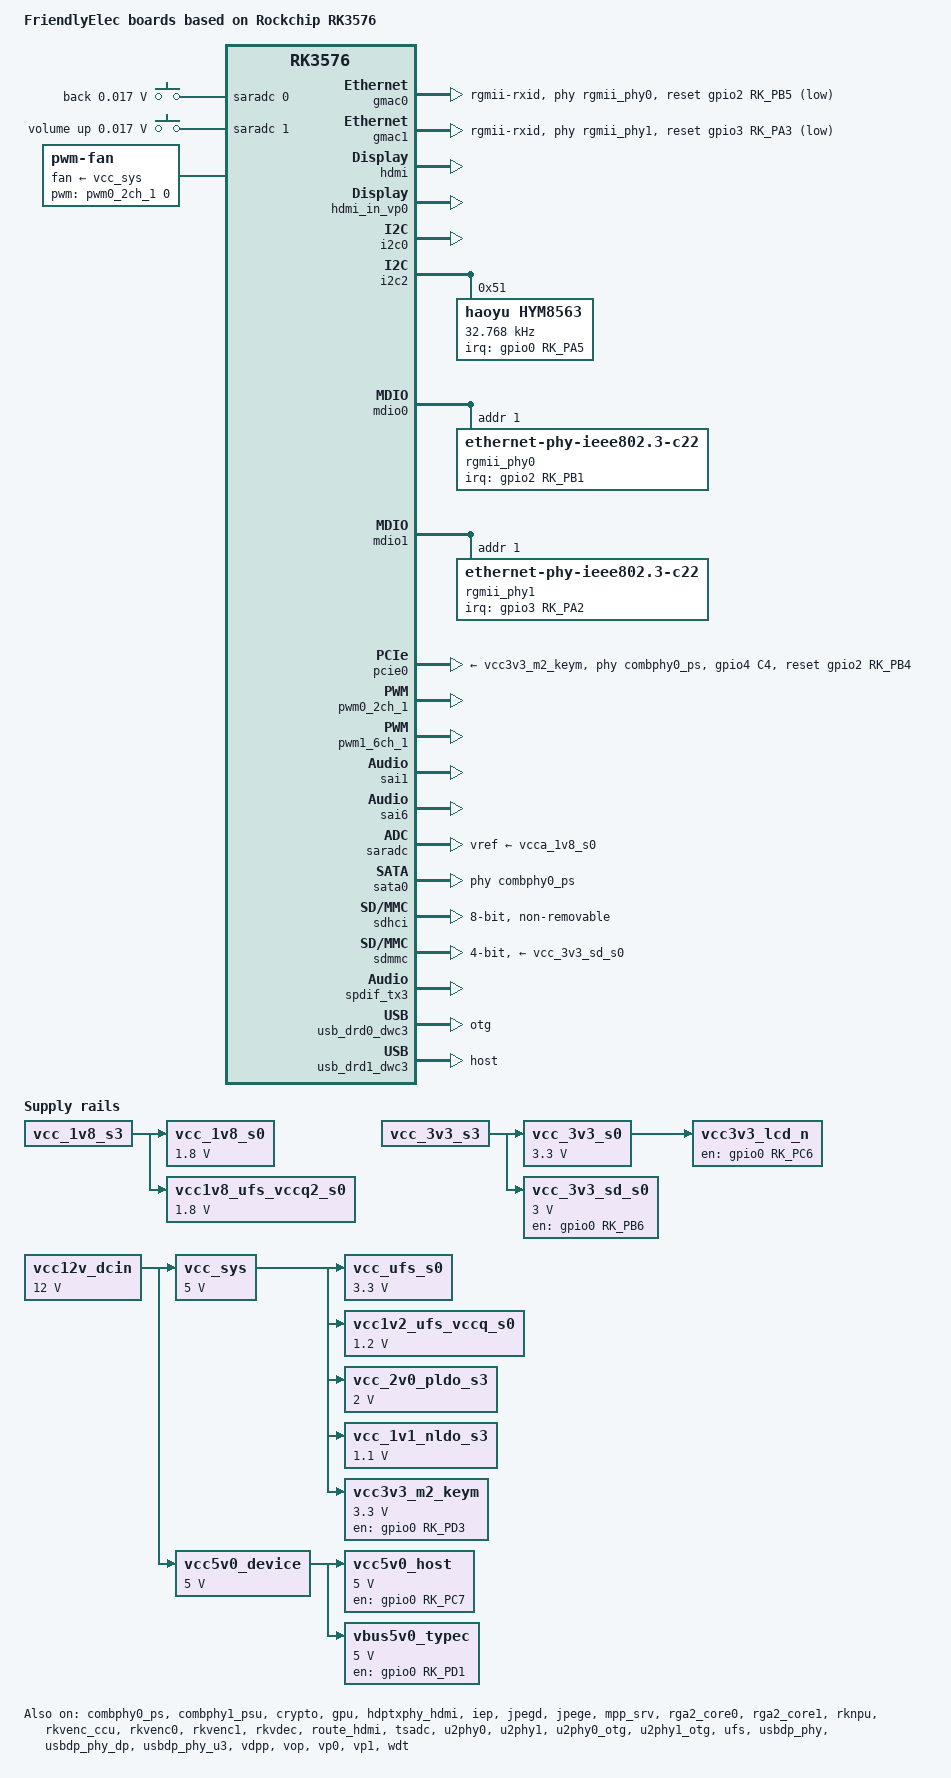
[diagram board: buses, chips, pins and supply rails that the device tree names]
// SPDX-License-Identifier: (GPL-2.0+ OR MIT)
/*
 * Copyright (c) 2025 FriendlyElec Computer Tech. Co., Ltd.
 * (http://www.friendlyelec.com)
 *
 * Copyright (c) 2024 Rockchip Electronics Co., Ltd.
 */

#include <dt-bindings/gpio/gpio.h>
#include <dt-bindings/pwm/pwm.h>
#include <dt-bindings/pinctrl/rockchip.h>
#include <dt-bindings/input/rk-input.h>
#include <dt-bindings/display/drm_mipi_dsi.h>
#include <dt-bindings/display/rockchip_vop.h>
#include <dt-bindings/usb/pd.h>
#include "rk3576.dtsi"
#include "rk3576-rk806.dtsi"
#include "rk3576-linux.dtsi"

/ {
	model = "FriendlyElec boards based on Rockchip RK3576";
	compatible = "friendlyelec,nanopi5",
		     "rockchip,rk3576";

	aliases {
		mmc0 = &sdmmc;
		mmc1 = &sdio;
		mmc2 = &sdhci;
	};


	adc0_keys: adc0-keys {
		compatible = "adc-keys";
		io-channels = <&saradc 0>;
		io-channel-names = "buttons";
		keyup-threshold-microvolt = <1800000>;
		poll-interval = <100>;

		vol-down-key {
			label = "back";
			linux,code = <KEY_BACK>;
			press-threshold-microvolt = <17000>;
		};
	};

	adc1_keys: adc1-keys {
		compatible = "adc-keys";
		io-channels = <&saradc 1>;
		io-channel-names = "buttons";
		keyup-threshold-microvolt = <1800000>;
		poll-interval = <100>;

		vol-up-key {
			label = "volume up";
			linux,code = <KEY_VOLUMEUP>;
			press-threshold-microvolt = <17000>;
		};
	};

	dp0_sound: dp0-sound {
		status = "disabled";
		compatible = "rockchip,hdmi";
		rockchip,mclk-fs = <512>;
		rockchip,card-name = "rockchip,dp0";
		rockchip,cpu = <&spdif_tx3>;
		rockchip,codec = <&dp0 1>;
	};

	hdmi_sound: hdmi-sound {
		compatible = "rockchip,hdmi";
		rockchip,mclk-fs = <128>;
		rockchip,card-name = "rockchip,hdmi0";
		rockchip,cpu = <&sai6>;
		rockchip,codec = <&hdmi>;
		rockchip,jack-det;
	};

	fan: pwm-fan {
		status = "okay";
		compatible = "pwm-fan";
		#cooling-cells = <2>;
		fan-supply = <&vcc_sys>;
		pwms = <&pwm0_2ch_1 0 50000 0>;
		cooling-levels = <0 45 70 110 160 255>;
		rockchip,hold-time-ms = <2000>;
		rockchip,temp-trips = <
			50000	1
			55000	2
			60000	3
			65000	4
			70000	5
		>;
	};

	sdio_pwrseq: sdio-pwrseq {
		compatible = "mmc-pwrseq-simple";
		pinctrl-names = "default";
		pinctrl-0 = <&wifi_poweren_gpio>;

		/*
		 * On the module itself this is one of these (depending
		 * on the actual card populated):
		 * - SDIO_RESET_L_WL_REG_ON
		 * - PDN (power down when low)
		 */
		post-power-on-delay-ms = <200>;
		reset-gpios = <&gpio1 RK_PC2 GPIO_ACTIVE_LOW>;
		status = "disabled";
	};

	vcc_1v8_s0: vcc-1v8-s0 {
		compatible = "regulator-fixed";
		regulator-name = "vcc_1v8_s0";
		regulator-boot-on;
		regulator-always-on;
		regulator-min-microvolt = <1800000>;
		regulator-max-microvolt = <1800000>;
		vin-supply = <&vcc_1v8_s3>;
	};

	vcc_3v3_s0: vcc-3v3-s0 {
		compatible = "regulator-fixed";
		regulator-name = "vcc_3v3_s0";
		regulator-boot-on;
		regulator-always-on;
		regulator-min-microvolt = <3300000>;
		regulator-max-microvolt = <3300000>;
		vin-supply = <&vcc_3v3_s3>;
	};

	vcc_ufs_s0: vcc-ufs-s0 {
		compatible = "regulator-fixed";
		regulator-name = "vcc_ufs_s0";
		regulator-boot-on;
		regulator-always-on;
		regulator-min-microvolt = <3300000>;
		regulator-max-microvolt = <3300000>;
		vin-supply = <&vcc_sys>;
	};

	vcc1v8_ufs_vccq2_s0: vcc1v8-ufs-vccq2-s0 {
		compatible = "regulator-fixed";
		regulator-name = "vcc1v8_ufs_vccq2_s0";
		regulator-boot-on;
		regulator-always-on;
		regulator-min-microvolt = <1800000>;
		regulator-max-microvolt = <1800000>;
		vin-supply = <&vcc_1v8_s3>;
	};

	vcc1v2_ufs_vccq_s0: vcc1v2-ufs-vccq-s0 {
		compatible = "regulator-fixed";
		regulator-name = "vcc1v2_ufs_vccq_s0";
		regulator-boot-on;
		regulator-always-on;
		regulator-min-microvolt = <1200000>;
		regulator-max-microvolt = <1200000>;
		vin-supply = <&vcc_sys>;
	};

	vcc3v3_lcd_n: vcc3v3-lcd0-n {
		compatible = "regulator-fixed";
		regulator-name = "vcc3v3_lcd0_n";
		regulator-boot-on;
		enable-active-high;
		gpio = <&gpio0 RK_PC6 GPIO_ACTIVE_HIGH>;
		vin-supply = <&vcc_3v3_s0>;
	};

	vcc5v0_host: vcc5v0-host {
		compatible = "regulator-fixed";
		regulator-name = "vcc5v0_host";
		regulator-min-microvolt = <5000000>;
		regulator-max-microvolt = <5000000>;
		enable-active-high;
		gpio = <&gpio0 RK_PC7 GPIO_ACTIVE_HIGH>;
		vin-supply = <&vcc5v0_device>;
		pinctrl-names = "default";
		pinctrl-0 = <&usb_host_pwren>;
	};

	vbus5v0_typec: vbus5v0-typec {
		compatible = "regulator-fixed";
		regulator-name = "vbus5v0_typec";
		regulator-min-microvolt = <5000000>;
		regulator-max-microvolt = <5000000>;
		enable-active-high;
		gpio = <&gpio0 RK_PD1 GPIO_ACTIVE_HIGH>;
		vin-supply = <&vcc5v0_device>;
		pinctrl-names = "default";
		pinctrl-0 = <&usb_otg0_pwren>;
	};

	vcc12v_dcin: vcc12v-dcin {
		compatible = "regulator-fixed";
		regulator-name = "vcc12v_dcin";
		regulator-always-on;
		regulator-boot-on;
		regulator-min-microvolt = <12000000>;
		regulator-max-microvolt = <12000000>;
	};

	vcc_sys: vcc5v0-sys {
		compatible = "regulator-fixed";
		regulator-name = "vcc_sys";
		regulator-always-on;
		regulator-boot-on;
		regulator-min-microvolt = <5000000>;
		regulator-max-microvolt = <5000000>;
		vin-supply = <&vcc12v_dcin>;
	};

	vcc5v0_device: vcc5v0-device {
		compatible = "regulator-fixed";
		regulator-name = "vcc5v0_device";
		regulator-always-on;
		regulator-boot-on;
		regulator-min-microvolt = <5000000>;
		regulator-max-microvolt = <5000000>;
		vin-supply = <&vcc12v_dcin>;
	};

	vcc_2v0_pldo_s3: vcc-2v0-pldo-s3 {
		compatible = "regulator-fixed";
		regulator-name = "vcc_2v0_pldo_s3";
		regulator-boot-on;
		regulator-always-on;
		regulator-min-microvolt = <2000000>;
		regulator-max-microvolt = <2000000>;
		vin-supply = <&vcc_sys>;
	};

	vcc_1v1_nldo_s3: vcc-1v1-nldo-s3 {
		compatible = "regulator-fixed";
		regulator-name = "vcc_1v1_nldo_s3";
		regulator-boot-on;
		regulator-always-on;
		regulator-min-microvolt = <1100000>;
		regulator-max-microvolt = <1100000>;
		vin-supply = <&vcc_sys>;
	};

	vcc_3v3_sd_s0: vcc-3v3-sd-s0-regulator {
		compatible = "regulator-fixed";
		enable-active-high;
		gpio = <&gpio0 RK_PB6 GPIO_ACTIVE_HIGH>;
		pinctrl-names = "default";
		pinctrl-0 = <&sd_s0_pwr>;
		regulator-boot-on;
		regulator-max-microvolt = <3000000>;
		regulator-min-microvolt = <3000000>;
		regulator-name = "vcc_3v3_sd_s0";
		vin-supply = <&vcc_3v3_s3>;
	};

	vcc3v3_m2_keym: vcc3v3-m2_keym {
		compatible = "regulator-fixed";
		enable-active-high;
		gpios = <&gpio0 RK_PD3 GPIO_ACTIVE_HIGH>;
		pinctrl-names = "default";
		pinctrl-0 = <&pcie_m2_pwren>;
		regulator-name = "vcc3v3_m2_keym";
		regulator-min-microvolt = <3300000>;
		regulator-max-microvolt = <3300000>;
		vin-supply = <&vcc_sys>;
	};
};

&combphy0_ps {
	status = "okay";
};

&combphy1_psu {
	status = "okay";
};

&cpu_l0 {
	cpu-supply = <&vdd_cpu_lit_s0>;
};

&cpu_b0 {
	cpu-supply = <&vdd_cpu_big_s0>;
};

&crypto {
	status = "okay";
};

&display_subsystem {
	clocks = <&hdptxphy_hdmi>;
	clock-names = "hdmi0_phy_pll";
};

&gpu {
	mali-supply = <&vdd_gpu_s0>;
	status = "okay";
};

&gmac0 {
	/* Use rgmii-rxid mode to disable rx delay inside Soc */
	phy-mode = "rgmii-rxid";
	clock_in_out = "output";

	snps,reset-gpio = <&gpio2 RK_PB5 GPIO_ACTIVE_LOW>;
	snps,reset-active-low;
	/* Reset time is 20ms, 100ms for rtl8211f */
	snps,reset-delays-us = <0 20000 100000>;

	pinctrl-names = "default";
	pinctrl-0 = <&eth0m0_miim
		     &eth0m0_tx_bus2
		     &eth0m0_rx_bus2
		     &eth0m0_rgmii_clk
		     &eth0m0_rgmii_bus>;

	tx_delay = <0x21>;
	/* rx_delay = <0x3f>; */

	phy-handle = <&rgmii_phy0>;
	status = "okay";
};

&gmac1 {
	/* Use rgmii-rxid mode to disable rx delay inside Soc */
	phy-mode = "rgmii-rxid";
	clock_in_out = "output";

	snps,reset-gpio = <&gpio3 RK_PA3 GPIO_ACTIVE_LOW>;
	snps,reset-active-low;
	/* Reset time is 20ms, 100ms for rtl8211f */
	snps,reset-delays-us = <0 20000 100000>;

	pinctrl-names = "default";
	pinctrl-0 = <&eth1m0_miim
		     &eth1m0_tx_bus2
		     &eth1m0_rx_bus2
		     &eth1m0_rgmii_clk
		     &eth1m0_rgmii_bus>;

	tx_delay = <0x20>;
	/* rx_delay = <0x3f>; */

	phy-handle = <&rgmii_phy1>;
	status = "okay";
};

&hdmi {
	status = "okay";
	cec-enable;
	enable-gpios = <&gpio4 RK_PC6 GPIO_ACTIVE_HIGH>;
	rockchip,sda-falling-delay-ns = <360>;
};

&hdmi_in_vp0 {
	status = "okay";
};

&hdptxphy_hdmi {
	status = "okay";
};

&i2c0 {
	pinctrl-0 = <&i2c0m1_xfer>;
	status = "okay";
};

&i2c2 {
	status = "okay";

	hym8563: hym8563@51 {
		compatible = "haoyu,hym8563";
		reg = <0x51>;
		#clock-cells = <0>;
		clock-frequency = <32768>;
		clock-output-names = "hym8563";
		pinctrl-names = "default";
		pinctrl-0 = <&hym8563_int>;
		interrupt-parent = <&gpio0>;
		interrupts = <RK_PA5 IRQ_TYPE_LEVEL_LOW>;
		wakeup-source;
	};
};

&iep {
	status = "okay";
};

&iep_mmu {
	status = "okay";
};

&jpegd {
	status = "okay";
};

&jpege {
	status = "okay";
};

&jpeg_mmu {
	status = "okay";
};

&mdio0 {
	rgmii_phy0: phy@1 {
		compatible = "ethernet-phy-ieee802.3-c22";
		reg = <0x1>;
		clocks = <&cru REFCLKO25M_GMAC0_OUT>;
		interrupt-parent = <&gpio2>;
		interrupts = <RK_PB1 IRQ_TYPE_LEVEL_LOW>;
		pinctrl-names = "default";
		pinctrl-0 = <&gmac0_int>;
		realtek,ledsel = <0xae00>;
	};
};

&mdio1 {
	rgmii_phy1: phy@1 {
		compatible = "ethernet-phy-ieee802.3-c22";
		reg = <0x1>;
		clocks = <&cru REFCLKO25M_GMAC1_OUT>;
		interrupt-parent = <&gpio3>;
		interrupts = <RK_PA2 IRQ_TYPE_LEVEL_LOW>;
		pinctrl-names = "default";
		pinctrl-0 = <&gmac1_int>;
		realtek,ledsel = <0xae00>;
	};
};

&mpp_srv {
	status = "okay";
};

&pcie0 {
	pinctrl-names = "default";
	pinctrl-0 = <&pcie_m2_prsnt>;
	phys = <&combphy0_ps PHY_TYPE_PCIE>;
	reset-gpios = <&gpio2 RK_PB4 GPIO_ACTIVE_HIGH>;
	rockchip,skip-scan-in-resume;
	rockchip,skip-hw-retry;
	rockchip,wait-for-link-ms = <1000>;
	vpcie3v3-supply = <&vcc3v3_m2_keym>;
	status = "okay";
};

&pdm1 {
	status = "disabled";
	pinctrl-names = "default";
	pinctrl-0 = <&pdm1m1_clk0
		     &pdm1m1_clk1
		     &pdm1m1_sdi0
		     &pdm1m1_sdi1
		     &pdm1m1_sdi2
		     &pdm1m1_sdi3>;
};

&pinctrl {
	cam {
		mipicsi0_pwr: mipicsi0-pwr {
			rockchip,pins = <3 RK_PB0 RK_FUNC_GPIO &pcfg_pull_none>;
		};

		mipicsi1_pwr: mipicsi1-pwr {
			rockchip,pins = <3 RK_PC5 RK_FUNC_GPIO &pcfg_pull_none>;
		};

		mipidcphy0_pwr: mipidcphy0-pwr {
			rockchip,pins = <3 RK_PC6 RK_FUNC_GPIO &pcfg_pull_none>;
		};
	};

	gmac {
		gmac0_int: gmac0-int {
			rockchip,pins = <2 RK_PB1 RK_FUNC_GPIO &pcfg_pull_up>;
		};
		gmac1_int: gmac1-int {
			rockchip,pins = <3 RK_PA2 RK_FUNC_GPIO &pcfg_pull_up>;
		};
	};

	headphone {
		hp_det: hp-det {
			rockchip,pins = <0 RK_PD3 RK_FUNC_GPIO &pcfg_pull_up>;
		};
	};

	hym8563 {
		hym8563_int: hym8563-int {
			rockchip,pins = <0 RK_PA5 RK_FUNC_GPIO &pcfg_pull_up>;
		};
	};

	pcie {
		pcie_m2_pwren: pcie-m2-pwren {
			rockchip,pins = <0 RK_PD3 RK_FUNC_GPIO &pcfg_pull_none>;
		};

		pcie_m2_prsnt: pcie-m20-prsnt {
			rockchip,pins = <4 RK_PC4 RK_FUNC_GPIO &pcfg_pull_up>;
		};
	};

	sdmmc {
		sd_s0_pwr: sd-s0-pwr {
			rockchip,pins = <0 RK_PB6 RK_FUNC_GPIO &pcfg_pull_up>;
		};
	};

	wireless-wlan {
		/omit-if-no-ref/
		wifi_host_wake_irq: wifi-host-wake-irq {
			rockchip,pins = <0 RK_PB0 RK_FUNC_GPIO &pcfg_pull_down>;
		};

		wifi_poweren_gpio: wifi-poweren-gpio {
			rockchip,pins = <1 RK_PC2 RK_FUNC_GPIO &pcfg_pull_up>;
		};
	};

	touch {
		/omit-if-no-ref/
		touch_gpio: touch-gpio {
			rockchip,pins =
				<0 RK_PD0 RK_FUNC_GPIO &pcfg_pull_up>,
				<0 RK_PC5 RK_FUNC_GPIO &pcfg_pull_up>;
		};
	};

	usb {
		usb_host_pwren: usb-host-pwren {
			rockchip,pins = <0 RK_PC7 RK_FUNC_GPIO &pcfg_pull_none>;
		};

		usb_otg0_pwren: usb-otg0-pwren {
			rockchip,pins = <0 RK_PD1 RK_FUNC_GPIO &pcfg_pull_none>;
		};
	};
};

&pwm0_2ch_1 {
	status = "okay";
};

&pwm1_6ch_1 {
	status = "okay";
	pinctrl-0 = <&pwm1m0_ch1>;
};

&rga2_core0 {
	status = "okay";
};

&rga2_core0_mmu {
	status = "okay";
};

&rga2_core1 {
	status = "okay";
};

&rga2_core1_mmu {
	status = "okay";
};

&rknpu {
	rknpu-supply = <&vdd_npu_s0>;
	status = "okay";
};

&rknpu_mmu {
	status = "okay";
};

&rkvenc_ccu {
	status = "okay";
};

&rkvenc0 {
	status = "okay";
};

&rkvenc0_mmu {
	status = "okay";
};

&rkvenc1 {
	status = "okay";
};

&rkvenc1_mmu {
	status = "okay";
};

&rkvdec {
	status = "okay";
};

&rkvdec_mmu {
	status = "okay";
};

&rockchip_suspend {
	status = "okay";
	rockchip,sleep-debug-en = <1>;

	rockchip,sleep-io-ret-config = <
		(0
		| RKPM_VCCIO3_RET_EN
		)
	>;

	rockchip,regulator-on-before-mem = <&vdd_npu_s0>;
};

&route_hdmi {
	status = "okay";
	connect = <&vp0_out_hdmi>;
};

&sai1 {
	status = "okay";
	pinctrl-names = "default";
	pinctrl-0 = <&sai1m0_lrck
		     &sai1m0_sclk
		     &sai1m0_sdi0
		     &sai1m0_sdo0>;
};

&sai6 {
	status = "okay";
};

&saradc {
	status = "okay";
	vref-supply = <&vcca_1v8_s0>;
};

&sata0 {
	phys = <&combphy0_ps PHY_TYPE_SATA>;
	target-supply = <&vcc3v3_m2_keym>;
	status = "okay";
};

&sdhci {
	bus-width = <8>;
	no-sdio;
	no-sd;
	non-removable;
	max-frequency = <200000000>;
	mmc-hs400-1_8v;
	mmc-hs400-enhanced-strobe;
	full-pwr-cycle-in-suspend;
	status = "okay";
};

&sdio {
	max-frequency = <200000000>;
	no-sd;
	no-mmc;
	bus-width = <4>;
	disable-wp;
	cap-sd-highspeed;
	cap-sdio-irq;
	keep-power-in-suspend;
	mmc-pwrseq = <&sdio_pwrseq>;
	non-removable;
	pinctrl-names = "default";
	pinctrl-0 = <&sdmmc1m0_bus4 &sdmmc1m0_clk &sdmmc1m0_cmd>;
	sd-uhs-sdr104;
	status = "disabled";
};

&sdmmc {
	max-frequency = <200000000>;
	no-sdio;
	no-mmc;
	bus-width = <4>;
	cap-mmc-highspeed;
	cap-sd-highspeed;
	disable-wp;
	sd-uhs-sdr104;
	vmmc-supply = <&vcc_3v3_sd_s0>;
	vqmmc-supply = <&vccio_sd_s0>;
	pinctrl-names = "default";
	pinctrl-0 = <&sdmmc0_clk &sdmmc0_cmd &sdmmc0_det &sdmmc0_bus4>;
	status = "okay";
};

&spdif_tx3 {
	status = "okay";
};

&tsadc {
	status = "okay";
};

&u2phy0 {
	status = "okay";
};

&u2phy1 {
	status = "okay";
};

&u2phy0_otg {
	status = "okay";
	phy-supply = <&vbus5v0_typec>;
};

&u2phy1_otg {
	status = "okay";
	phy-supply = <&vcc5v0_host>;
};

&ufs {
	status = "okay";
	reset-gpios = <&gpio4 RK_PD0 GPIO_ACTIVE_HIGH>;
};

&usbdp_phy {
	status = "okay";
};

&usbdp_phy_dp {
	status = "okay";
};

&usbdp_phy_u3 {
	status = "okay";
};

&usb_drd0_dwc3 {
	dr_mode = "otg";
	extcon = <&u2phy0>;
	status = "okay";
};

&usb_drd1_dwc3 {
	dr_mode = "host";
	status = "okay";
};

&vdpp {
	status = "okay";
};

&vop {
	status = "okay";
	vop-supply = <&vdd_logic_s0>;
};

&vop_mmu {
	status = "okay";
};

&vp0 {
	status = "okay";
};

&vp1 {
	status = "okay";
};

&vp2 {
	assigned-clocks = <&cru DCLK_VP2_SRC>;
	assigned-clock-parents = <&cru PLL_VPLL>;
};

&wdt {
	status = "okay";
};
